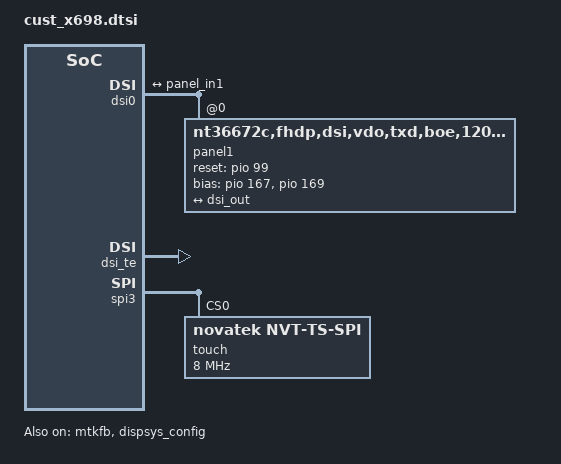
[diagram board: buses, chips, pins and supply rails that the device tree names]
// SPDX-License-Identifier: GPL-2.0
/*
 * Copyright (C) 2026 Infinix Note 11S / Note 11 Pro (X698 / MT6781)
 * Hardware Device Tree Source Bindings for Linux 4.19
 */

&pio {
	mtkfb_pins_lcm_rst_out1_gpio: lcm_rst_out1_gpio {
		pins_cmd_dat {
			pinmux = <PINMUX_GPIO99__FUNC_GPIO99>;
			slew-rate = <1>;
			output-high;
		};
	};

	mtkfb_pins_lcm_rst_out0_gpio: lcm_rst_out0_gpio {
		pins_cmd_dat {
			pinmux = <PINMUX_GPIO99__FUNC_GPIO99>;
			slew-rate = <1>;
			output-low;
		};
	};

	mtkfb_pins_lcm_dsi_te: lcm_dsi_te {
		pins_cmd_dat {
			pinmux = <PINMUX_GPIO97__FUNC_DSI_TE>;
		};
	};
};

&mtkfb {
	pinctrl-names = "lcm_rst_out1_gpio", "lcm_rst_out0_gpio", "mode_te_te";
	pinctrl-0 = <&mtkfb_pins_lcm_rst_out1_gpio>;
	pinctrl-1 = <&mtkfb_pins_lcm_rst_out0_gpio>;
	pinctrl-2 = <&mtkfb_pins_lcm_dsi_te>;
	status = "okay";
};

&dispsys_config {
	pinctrl-names = "lcm_rst_out1_gpio", "lcm_rst_out0_gpio", "mode_te_te";
	pinctrl-0 = <&mtkfb_pins_lcm_rst_out1_gpio>;
	pinctrl-1 = <&mtkfb_pins_lcm_rst_out0_gpio>;
	pinctrl-2 = <&mtkfb_pins_lcm_dsi_te>;
	status = "okay";
};

&dsi0 {
	status = "okay";
	#address-cells = <1>;
	#size-cells = <0>;

	panel1@0 {
		compatible = "nt36672c,fhdp,dsi,vdo,txd,boe,120hz,x697";
		reg = <0>;
		reset-gpios = <&pio 99 0>;
		bias-gpios = <&pio 167 0>, <&pio 169 0>;
		pinctrl-names = "default";

		port {
			panel_in1: endpoint {
				remote-endpoint = <&dsi_out>;
			};
		};
	};

	ports {
		port {
			dsi_out: endpoint {
				remote-endpoint = <&panel_in1>;
			};
		};
	};
};

&dsi_te {
	compatible = "mediatek, dsi_te-eint";
	status = "okay";
	interrupt-parent = <&pio>;
	interrupts = <97 IRQ_TYPE_EDGE_RISING>;
};

&spi3 {
	status = "okay";
	#address-cells = <1>;
	#size-cells = <0>;

	touch@0 {
		compatible = "novatek,NVT-ts-spi";
		reg = <0>;
		spi-max-frequency = <8000000>;
		status = "okay";
		novatek,swrst-n8-addr = <0x03F0FE>;
		novatek,spi-rd-fast-addr = <0x03F310>;
		novatek,mp-support-dt;
	};
};

mt_pmic_vtp_ldo_reg: &mt_pmic_vio28_ldo_reg {
};
